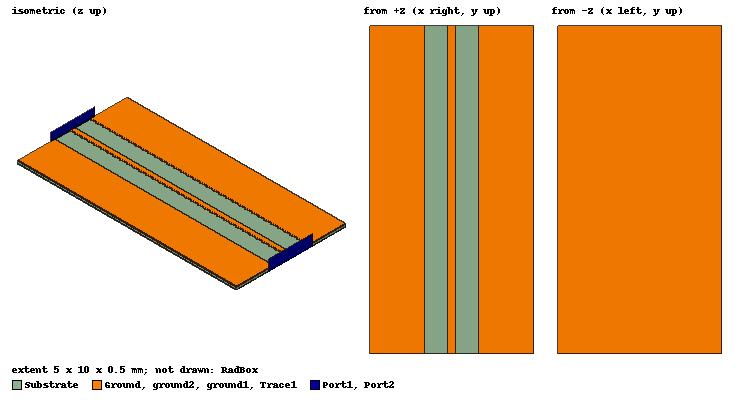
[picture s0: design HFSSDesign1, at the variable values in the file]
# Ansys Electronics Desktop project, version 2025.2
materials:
  vacuum: permittivity=1
  Isola I-Speed IS (R): permittivity=3.3 dielectric_loss_tangent=0.0064
  Krempel Akaflex PCL (tm): permittivity=3.3 dielectric_loss_tangent=0.0052
  Material1: permittivity=3.3 dielectric_loss_tangent=0.003
  copper: permeability=0.999991 conductivity=58000000
  air: permittivity=1.0006 permeability=1.0000004

design HFSSDesign1 (HFSS, HFSS Terminal Network, model units mm)
options: Calculate_Lossy_Dielectrics
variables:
  W_trace = 0.218mm
  d_separation = 1mm
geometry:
  Substrate [Material1] = box(corner=(0mm, 0mm, 0.02mm), size=(5mm, 10mm, 0.1mm))
  Trace1 [copper] = box(corner=(2.5mm-W_trace/2, 0mm, 0.12mm), size=(W_trace, 10mm, 0.02mm))
  RadBox [air] = box(corner=(-10mm, 0mm, 0mm), size=(25mm, 10mm, 10mm))
  Port1 = rectangle(corner=(2.5mm- 1mm, 0mm, 0mm), z_size=0.5mm, x_size=2mm)
  Port2 = rectangle(corner=(2.5mm-1mm, 10mm, 0mm), z_size=0.5mm, x_size=2mm)
  ground1 [copper] = box(corner=(2.5mm+W_trace/2+0.7mm, 0mm, 0.12mm), size=(1.691mm, 10mm, 0.02mm))
  ground2 [copper] = box(corner=(0mm, 0mm, 0.12mm), size=(1.691mm, 10mm, 0.02mm))
  Ground [copper] = box(corner=(0, 0, 0), size=(5mm, 10mm, 0.02mm))
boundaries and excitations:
  Rad1: Radiation Objects=RadBox
  Trace1_T1: Terminal port=1 Faces=Trace1.face(-y) TerminalResistance=50ohm
  Trace1_T2: Terminal port=2 Faces=Trace1.face(+y) TerminalResistance=50ohm
  1: Wave Port Faces=Port1.face WavePortType=Terminal NumModes=1 SpecifiedWaveDirectionFlip
  2: Wave Port Faces=Port2.face WavePortType=Terminal NumModes=1
  reference conductors: Ground, ground1, ground2
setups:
  Setup1: HfssDriven Frequency=50GHz MaxDeltaS=0.03 MaximumPasses=20 MinimumPasses=1 MinimumConvergedPasses=1 PercentRefinement=30 BasisOrder=1 PortAccuracy=2 DrivenSolverType="Direct Solver"
    sweep Sweep: 0.001GHz to 50GHz step 0.1GHz; Type=Interpolating InterpTolerance=0.5 InterpMaxSolns=250 InterpUsePortImped=false InterpUsePropConst=false PassivityErrorTolerance=0.0001
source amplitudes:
  1:1: 1V 0deg
  2:1: 0V 0deg
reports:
  Terminal S Parameter Plot1: dB(St(Trace1_T1,Trace1_T1)), dB(St(Trace1_T2,Trace1_T1)), dB(St(Trace1_T1,Trace1_T2)), dB(St(Trace1_T2,Trace1_T2)) vs Freq on Setup1 : Sweep; markers m1 at 42.101GHz, m2 at 32.701GHz, MX1 at x=9.978308e+09, MX2 at x=4.9819234e+10
  Terminal S Parameter Plot2: dB(St(Trace1_T2,Trace1_T1)) vs Freq on Setup1 : Sweep
  Terminal Group Delay Plot1: GroupDelay(Trace1_T2,Trace1_T1) vs Freq on Setup1 : Sweep; markers m1 at 49.901GHz, m2 at 10.001GHz
  Terminal S Parameter Chart1: St(Trace1_T1,Trace1_T1), St(Trace1_T2,Trace1_T2) on Setup1 : Sweep [Freq=all]
